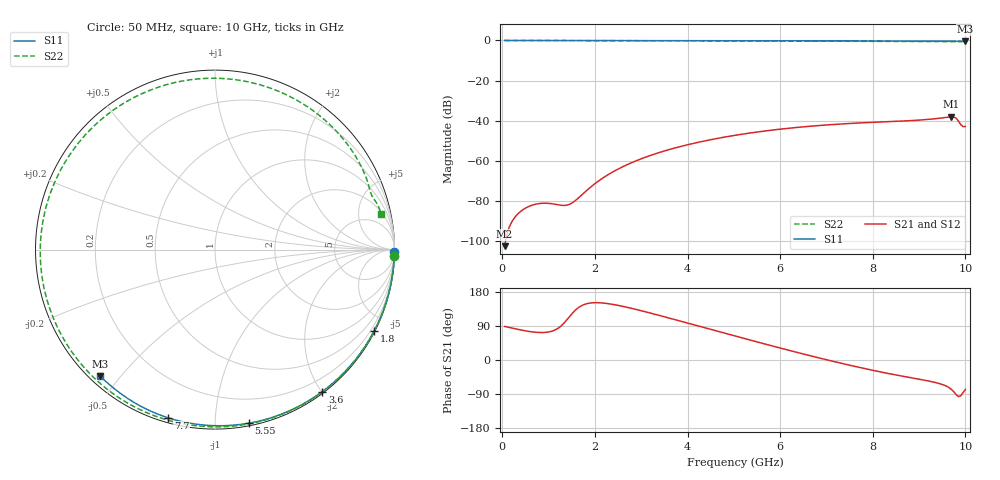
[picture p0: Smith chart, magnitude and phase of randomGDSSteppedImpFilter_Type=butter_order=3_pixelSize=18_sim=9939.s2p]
! freq	dB(S11)	phase(S11)	dB(S12)	phase(S12)
!  dB(S21)	phase(S21)	dB(S22)	phase(S22)
!S-par simulation data
#  GHz  S  DB  R 50
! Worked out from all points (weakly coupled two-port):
!   200 points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, 50 MHz to 10 GHz, reference 50 ohm
!   highest |S21| = -37.99 dB at 9.7 GHz (marker M1); lowest = -102.4 dB at 50 MHz (marker M2)
!   lowest |S11| = -0.4 dB at 10 GHz (marker M3), VSWR 39.78, Z = 1.5 - j22.2 ohm
!   |S11| at or under -10 dB: nowhere
!   |S22| runs from -0.7 to 0.0 dB; largest |S21 - S12| = 0
!   S11 on the Smith chart (normalised r, x): 50 MHz: open; 1.8 GHz: 0.04, -4.16; 3.6 GHz: 0.02, -2.01; 5.55 GHz: 0.02, -1.21; 7.7 GHz: 0.02, -0.76; 10 GHz: 0.03, -0.44
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0.05  -0.00 -0.8  -102.42 88.6  -102.42 88.6  -0.00 -2.1
0.75  -0.01 -11.4  -81.38 72.9  -81.38 72.9  -0.04 -31.3
1.55  -0.03 -23.4  -80.22 128.2  -80.22 128.2  -0.08 -63.3
1.75  -0.03 -26.3  -76.19 145.5  -76.19 145.5  -0.09 -70.9
1.8  -0.03 -27.1  -75.15 147.7  -75.15 147.7  -0.09 -72.8
2.15  -0.04 -32.2  -68.82 150.7  -68.82 150.7  -0.10 -85.7
2.5  -0.05 -37.3  -64.04 144.2  -64.04 144.2  -0.12 -98.2
3.4  -0.07 -50.1  -55.72 117.3  -55.72 117.3  -0.15 -128.6
3.6  -0.07 -52.9  -54.35 110.8  -54.35 110.8  -0.16 -135.0
4.35  -0.09 -63.2  -50.12 85.8  -50.12 85.8  -0.20 -158.7
5.05  -0.11 -72.5  -47.14 62.5  -47.14 62.5  -0.23 179.7
5.55  -0.13 -79.0  -45.44 46.1  -45.44 46.1  -0.26 164.1
6.1  -0.15 -86.0  -43.92 28.4  -43.92 28.4  -0.30 146.7
6.7  -0.18 -93.5  -42.61 9.7  -42.61 9.7  -0.34 127.2
7.2  -0.21 -99.6  -41.76 -5.2  -41.76 -5.2  -0.37 110.4
7.7  -0.24 -105.5  -41.08 -19.2  -41.08 -19.2  -0.40 93.0
8.35  -0.29 -113.2  -40.41 -36.0  -40.41 -36.0  -0.44 69.9
9.1  -0.35 -121.8  -39.48 -52.8  -39.48 -52.8  -0.50 42.8
9.7  -0.41 -128.7  -37.99 -77.7  -37.99 -77.7  -0.67 21.7
9.8  -0.41 -129.8  -38.72 -91.2  -38.72 -91.2  -0.69 18.9
9.9  -0.42 -131.0  -41.91 -94.4  -41.91 -94.4  -0.56 16.0
10  -0.44 -132.2  -42.82 -77.7  -42.82 -77.7  -0.47 12.1
